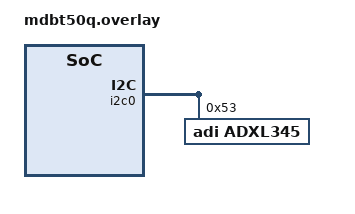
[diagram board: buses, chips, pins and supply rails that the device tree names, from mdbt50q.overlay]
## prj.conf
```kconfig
# Configure logger
CONFIG_LOG=y
CONFIG_USE_SEGGER_RTT=n
CONFIG_LOG_BACKEND_UART=y
CONFIG_LOG_DEFAULT_LEVEL=3

# Configure buttons and LEDs.
CONFIG_GPIO=y
CONFIG_DK_LIBRARY=y

# Configure Bluetooth
CONFIG_BT=y
CONFIG_BT_PERIPHERAL=y
CONFIG_BT_DEVICE_NAME="MDPP_BLE"
CONFIG_BT_DEVICE_APPEARANCE=0
CONFIG_BT_MAX_CONN=1
CONFIG_BT_LL_SOFTDEVICE=y

# Enable mcumgr.
CONFIG_MCUMGR=y

# Enable most core commands.
CONFIG_MCUMGR_CMD_IMG_MGMT=y
CONFIG_MCUMGR_CMD_OS_MGMT=y

# Ensure an MCUboot-compatible binary is generated.
CONFIG_BOOTLOADER_MCUBOOT=y

# Allow for large Bluetooth data packets.
CONFIG_BT_L2CAP_TX_MTU=252
CONFIG_BT_BUF_ACL_RX_SIZE=256

# Enable the Bluetooth (unauthenticated) and shell mcumgr transports.
CONFIG_MCUMGR_SMP_BT=y
CONFIG_MCUMGR_SMP_BT_AUTHEN=n

#ADXL 345 I2C Settings
CONFIG_I2C=y
CONFIG_SENSOR=y
CONFIG_ADXL345=y

CONFIG_ASSERT=y
```

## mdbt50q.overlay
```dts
// To get started, press Ctrl+Space to bring up the completion menu and view the available nodes.
// For more help, browse the DeviceTree documentation at https://docs.zephyrproject.org/latest/guides/dts/index.html

&i2c0 {
    // Pin mapping
    // pinctrl-0 = <&i2c0_default>;
	// pinctrl-1 = <&i2c0_sleep>;
	// pinctrl-names = "default", "sleep";
    adxl345@53 {
		compatible = "adi,adxl345";
		label = "ADXL345";
		reg = <0x53>;
	};
};
```

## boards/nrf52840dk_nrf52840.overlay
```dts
/*
 * Copyright (c) 2019 Nordic Semiconductor ASA
 *
 * SPDX-License-Identifier: Apache-2.0
 */

// Customised Pin config
//  &pinctrl {	
//     i2c0_default_alt: i2c0_default_alt {
// 		group1 {
// 			psels = <NRF_PSEL(TWIM_SDA, 0, 26)>,
// 				<NRF_PSEL(TWIM_SCL, 0, 27)>;
// 		};
// 	};

// 	i2c0_sleep_alt: i2c0_sleep_alt {
// 		group1 {
// 			psels = <NRF_PSEL(TWIM_SDA, 0, 26)>,
// 				<NRF_PSEL(TWIM_SCL, 0, 27)>;
// 			low-power-enable;
// 		};
// 	};
// };

&i2c0 {
    // Pin mapping
    // pinctrl-0 = <&i2c0_default_alt>;
	// pinctrl-1 = <&i2c0_sleep_alt>;
	// pinctrl-names = "default", "sleep";
    adxl345@53 {
		compatible = "adi,adxl345";
		label = "ADXL345";
		reg = <0x53>;
	};
};
```

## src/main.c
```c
#include <zephyr.h>

#include <device.h>
#include <devicetree.h>
#include <dk_buttons_and_leds.h>
#include <drivers/sensor.h>
#if !DT_HAS_COMPAT_STATUS_OKAY(adi_adxl345)
#error "No adi,adxl345 compatible node found in the device tree"
#endif

struct adxl345_data
{
    /* data */
    int16_t x;
    int16_t y;
    int16_t z;
};

#include "remote.h"

#define RUN_STATUS_LED DK_LED1
#define CONN_STATUS_LED DK_LED2
#define RUN_LED_BLINK_INTERVAL 250

static struct bt_conn *current_conn;
bool isNotify = false;
bool isConnected = false;
static int counter = 0;

// static void repeating_timer_callback(struct k_work *dummy){
// 	counter++;
// 	printk("Timer counter %d\n", counter);
// }

// K_WORK_DEFINE(repeating_timer_work, repeating_timer_callback);

void repeating_timer_handler(struct k_timer *dummy)
{
    // k_work_submit(&repeating_timer_work);
	counter++;
}

K_TIMER_DEFINE(my_timer, repeating_timer_handler, NULL);

/* Declarations */
void on_connected(struct bt_conn *conn, uint8_t err);
void on_disconnected(struct bt_conn *conn, uint8_t reason);
void on_notif_changed(enum bt_button_notifications_enabled status);
void on_data_received(struct bt_conn *conn, const uint8_t *const data, uint16_t len);

struct bt_conn_cb bluetooth_callbacks = {
	.connected 		= on_connected,
	.disconnected 	= on_disconnected,
};

struct bt_remote_service_cb remote_service_callbacks = {
	.notif_changed = on_notif_changed,
	.data_received = on_data_received,
};

/* Callback */
void on_connected(struct bt_conn *conn, uint8_t err)
{
	if(err) {
		printk("connection err: %d\n", err);
		return;
	}
	printk("Connected.\n");
	current_conn = bt_conn_ref(conn);
	dk_set_led_on(CONN_STATUS_LED);
    isConnected = true;
}

void on_disconnected(struct bt_conn *conn, uint8_t reason)
{
	printk("Disconnected (reason: %d)\n", reason);
	dk_set_led_off(CONN_STATUS_LED);
	if(current_conn) {
		bt_conn_unref(current_conn);
		current_conn = NULL;
	}	
    isConnected = false;
}

void on_notif_changed(enum bt_button_notifications_enabled status)
{
    if (status == BT_BUTTON_NOTIFICATIONS_ENABLED) {
		isNotify = true;
        printk("Notifications enabled\n");
    } else {
		isNotify = false;
        printk("Notifications disabled\n");
    }
}

void on_data_received(struct bt_conn *conn, const uint8_t *const data, uint16_t len)
{
    uint8_t temp_str[len+1];
    memcpy(temp_str, data, len);
    temp_str[len] = 0x00;

    printk("Received data on conn %p. Len: %d\n", (void *)conn, len);
    printk("Data: %s\n", temp_str);
}

void button_handler(uint32_t button_state, uint32_t has_changed)
{
    int err;
	int button_pressed = 0;
	if (has_changed & button_state)
	{
		switch (has_changed)
		{
			case DK_BTN1_MSK:
				button_pressed = 1;
				break;
			case DK_BTN2_MSK:
				button_pressed = 2;
				break;
			case DK_BTN3_MSK:
				button_pressed = 3;
				break;
			case DK_BTN4_MSK:
				button_pressed = 4;
				break;
			default:
				break;
		}
        printk("Button %d pressed.\n", button_pressed);       
		set_button_value(button_pressed);
		err = send_button_notification(current_conn, &button_pressed, 1);
		if (err) {
            printk("Couldn't send notificaton. (err: %d)\n", err);
        }
    }
}

/* Configurations */
static void configure_dk_buttons_leds(void)
{
    int err;
    err = dk_leds_init();
    if (err) {
        printk("Couldn't init LEDS (err %d)\n", err);
    }
    err = dk_buttons_init(button_handler);
    if (err) {
        printk("Couldn't init buttons (err %d)\n", err);
    }
}

void main(void)
{
	int err;
    int blink_status = 0;

    uint32_t count = 0U;

	struct sensor_value accel[3];
	struct adxl345_data adxl345_data;

	printk("Hello World! %s\n", CONFIG_BOARD);

	configure_dk_buttons_leds();

	err = bluetooth_init(&bluetooth_callbacks, &remote_service_callbacks);
    if (err) {
        printk("Couldn't initialize Bluetooth. err: %d\n", err);
		return;
    }

	const struct device *sensor = DEVICE_DT_GET(DT_INST(0, adi_adxl345));

	if (sensor == NULL || !device_is_ready(sensor)) {
		printk("Could not get %s device\n", DT_LABEL(DT_INST(0, adi_adxl345)));
		// return;
	}

	k_timer_init(&my_timer, repeating_timer_handler, NULL);
	k_timer_start(&my_timer, K_NO_WAIT, K_MSEC(250));	

	while (1) {		
		if(counter > 0){
			counter = 0;
			dk_set_led(RUN_STATUS_LED, (blink_status++)%2);		

			if (sensor_sample_fetch(sensor) < 0) {
				printk("sensor_sample_fetch failed\n");
			}		

			sensor_channel_get(sensor, SENSOR_CHAN_ACCEL_XYZ, accel);

			adxl345_data.x = (int16_t) sensor_value_to_double(&accel[0]);
			adxl345_data.y = (int16_t) sensor_value_to_double(&accel[1]);
			adxl345_data.z = (int16_t) sensor_value_to_double(&accel[2]);

			if(isNotify){
				err = send_adxl345_notification(current_conn, (uint8_t*)&adxl345_data, sizeof(adxl345_data));
				if (err) {
					printk("Couldn't send notificaton. (err: %d)\n", err);
				}
			}
			printk("X:%d,Y:%d,Z:%d\r\n", adxl345_data.x, adxl345_data.y, adxl345_data.z); 
		}
		k_sleep(K_MSEC(1));		
	}	
}
```
